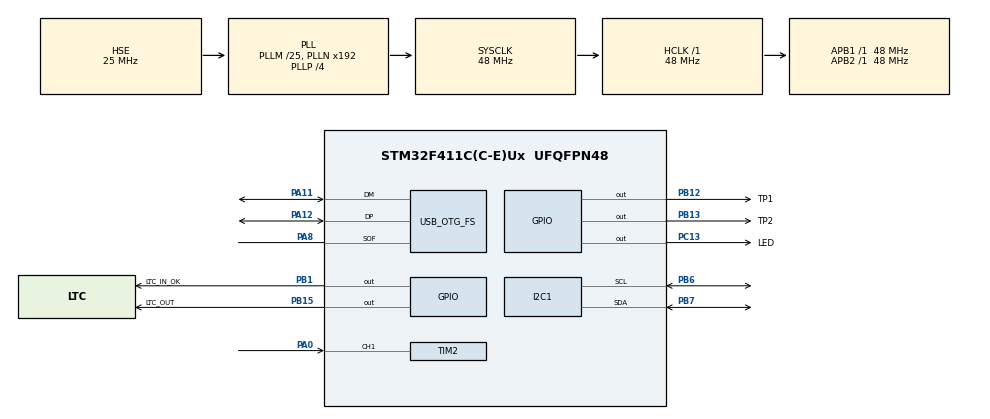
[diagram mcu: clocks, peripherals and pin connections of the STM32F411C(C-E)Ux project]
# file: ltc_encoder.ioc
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AL94.I-CUBE-USBD-COMPOSITE.1.0.3.CompositeCcUSBJjCOMPOSITEJjCDCIiACM=true
AL94.I-CUBE-USBD-COMPOSITE.1.0.3.CompositeCcUSBJjCOMPOSITEJjCOMPOSITE=true
AL94.I-CUBE-USBD-COMPOSITE.1.0.3.CompositeCcUSBJjCOMPOSITEJjCore=true
AL94.I-CUBE-USBD-COMPOSITE.1.0.3._USBD_CDC_ACM_COUNT=2
AL94.I-CUBE-USBD-COMPOSITE.1.0.3._USBD_USE_CDC_ACM=true
AL94.I-CUBE-USBD-COMPOSITE.1.0.3._USBD_USE_HS=false
Dma.I2C1_TX.0.Direction=DMA_MEMORY_TO_PERIPH
Dma.I2C1_TX.0.FIFOMode=DMA_FIFOMODE_DISABLE
Dma.I2C1_TX.0.Instance=DMA1_Stream1
Dma.I2C1_TX.0.MemDataAlignment=DMA_MDATAALIGN_BYTE
Dma.I2C1_TX.0.MemInc=DMA_MINC_ENABLE
Dma.I2C1_TX.0.Mode=DMA_NORMAL
Dma.I2C1_TX.0.PeriphDataAlignment=DMA_PDATAALIGN_BYTE
Dma.I2C1_TX.0.PeriphInc=DMA_PINC_DISABLE
Dma.I2C1_TX.0.Priority=DMA_PRIORITY_LOW
Dma.Request0=I2C1_TX
Dma.Request1=TIM1_UP
Dma.TIM1_UP.1.Direction=DMA_MEMORY_TO_PERIPH
Dma.TIM1_UP.1.FIFOMode=DMA_FIFOMODE_ENABLE
Dma.TIM1_UP.1.FIFOThreshold=DMA_FIFO_THRESHOLD_FULL
Dma.TIM1_UP.1.Instance=DMA2_Stream5
Dma.TIM1_UP.1.MemBurst=DMA_MBURST_SINGLE
Dma.TIM1_UP.1.MemDataAlignment=DMA_MDATAALIGN_WORD
Dma.TIM1_UP.1.MemInc=DMA_MINC_ENABLE
Dma.TIM1_UP.1.Mode=DMA_CIRCULAR
Dma.TIM1_UP.1.PeriphBurst=DMA_PBURST_SINGLE
Dma.TIM1_UP.1.PeriphDataAlignment=DMA_PDATAALIGN_WORD
Dma.TIM1_UP.1.PeriphInc=DMA_PINC_DISABLE
Dma.TIM1_UP.1.Priority=DMA_PRIORITY_VERY_HIGH
Mcu.Family=STM32F4
Mcu.Name=STM32F411C(C-E)Ux
Mcu.Package=UFQFPN48
NVIC.DMA1_Stream1_IRQn=true\:0\:0\:false\:false\:true\:false\:true\:true
NVIC.DMA2_Stream5_IRQn=true\:0\:0\:false\:false\:true\:false\:true\:true
NVIC.I2C1_ER_IRQn=true\:0\:0\:false\:false\:true\:true\:true\:true
NVIC.I2C1_EV_IRQn=true\:0\:0\:false\:false\:true\:true\:true\:true
NVIC.OTG_FS_IRQn=true\:0\:0\:false\:false\:true\:true\:true\:true
NVIC.PriorityGroup=NVIC_PRIORITYGROUP_4
NVIC.TIM1_BRK_TIM9_IRQn=true\:0\:0\:false\:false\:true\:true\:true\:true
NVIC.TIM1_CC_IRQn=true\:0\:0\:false\:false\:true\:true\:true\:true
NVIC.TIM1_TRG_COM_TIM11_IRQn=true\:0\:0\:false\:false\:true\:true\:true\:true
NVIC.TIM1_UP_TIM10_IRQn=true\:0\:0\:false\:false\:true\:true\:true\:true
NVIC.TIM2_IRQn=true\:0\:0\:false\:false\:true\:true\:true\:true
NVIC.TIM3_IRQn=true\:0\:0\:false\:false\:true\:true\:true\:true
PA0-WKUP.GPIO_PuPd=GPIO_NOPULL
PA0-WKUP.GPIO_Speed=GPIO_SPEED_FREQ_VERY_HIGH
PA0-WKUP.Signal=S_TIM2_CH1_ETR
PA11.Mode=Device_Only
PA11.Signal=USB_OTG_FS_DM
PA12.Mode=Device_Only
PA12.Signal=USB_OTG_FS_DP
PA13.Mode=Serial_Wire
PA13.Signal=SYS_JTMS-SWDIO
PA14.Mode=Serial_Wire
PA14.Signal=SYS_JTCK-SWCLK
PA8.Mode=Activate_SOF_FS
PA8.Signal=USB_OTG_FS_SOF
PB1.GPIO_Label=LTC_IN_OK
PB1.GPIO_ModeDefaultOutputPP=GPIO_MODE_OUTPUT_OD
PB1.GPIO_PuPd=GPIO_NOPULL
PB1.Signal=GPIO_Output
PB12.GPIO_Label=TP1
PB12.GPIO_Speed=GPIO_SPEED_FREQ_VERY_HIGH
PB12.PinState=GPIO_PIN_RESET
PB12.Signal=GPIO_Output
PB13.GPIO_Label=TP2
PB13.GPIO_Speed=GPIO_SPEED_FREQ_VERY_HIGH
PB13.Signal=GPIO_Output
PB15.GPIO_Label=LTC_OUT
PB15.GPIO_ModeDefaultOutputPP=GPIO_MODE_OUTPUT_OD
PB15.GPIO_PuPd=GPIO_NOPULL
PB15.GPIO_Speed=GPIO_SPEED_FREQ_VERY_HIGH
PB15.Signal=GPIO_Output
PB6.Mode=I2C
PB6.Signal=I2C1_SCL
PB7.Mode=I2C
PB7.Signal=I2C1_SDA
PC13-ANTI_TAMP.GPIO_Label=LED
PC13-ANTI_TAMP.GPIO_ModeDefaultOutputPP=GPIO_MODE_OUTPUT_OD
PC13-ANTI_TAMP.GPIO_PuPd=GPIO_NOPULL
PC13-ANTI_TAMP.Signal=GPIO_Output
PC14-OSC32_IN.Mode=LSE-External-Oscillator
PC14-OSC32_IN.Signal=RCC_OSC32_IN
PC15-OSC32_OUT.Mode=LSE-External-Oscillator
PC15-OSC32_OUT.Signal=RCC_OSC32_OUT
PH0\ -\ OSC_IN.Mode=HSE-External-Oscillator
PH0\ -\ OSC_IN.Signal=RCC_OSC_IN
PH1\ -\ OSC_OUT.Mode=HSE-External-Oscillator
PH1\ -\ OSC_OUT.Signal=RCC_OSC_OUT
ProjectManager.HeapSize=0x200
ProjectManager.StackSize=0x400
ProjectManager.TargetToolchain=STM32CubeIDE
RCC.48MHZClocksFreq_Value=48000000
RCC.AHBFreq_Value=48000000
RCC.APB1Freq_Value=48000000
RCC.APB1TimFreq_Value=48000000
RCC.APB2Freq_Value=48000000
RCC.APB2TimFreq_Value=48000000
RCC.CortexFreq_Value=48000000
RCC.HCLKFreq_Value=48000000
RCC.HSE_VALUE=25000000
RCC.HSI_VALUE=16000000
RCC.PLLI2SM=25
RCC.PLLI2SN=128
RCC.PLLI2SR=4
RCC.PLLM=25
RCC.PLLP=RCC_PLLP_DIV4
RCC.SYSCLKFreq_VALUE=48000000
RCC.SYSCLKSource=RCC_SYSCLKSOURCE_PLLCLK
RCC.VCOOutputFreq_Value=192000000
SH.S_TIM2_CH1_ETR.0=TIM2_CH1,PWM_Input_1
TIM1.Period=TIMER1_PERIOD
TIM1.Prescaler=TIMER1_PRESCALER
TIM3.Period=TIMER3_PERIOD
TIM3.Prescaler=TIMER3_PRESCALER
USB_OTG_FS.VirtualMode=Device_Only
VP_AL94.I-CUBE-USBD-COMPOSITE_VS_USBJjComposite_1.0.0_1.0.3.Mode=USBJjComposite
VP_TIM1_VS_ClockSourceINT.Mode=Internal
VP_TIM3_VS_ClockSourceINT.Mode=Internal
board=custom

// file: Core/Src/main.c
/* USER CODE BEGIN Header */

/* USER CODE END Header */
#include "main.h"
#include "dma.h"
#include "i2c.h"
#include "tim.h"
#include "usb_otg.h"
#include "gpio.h"

/* USER CODE BEGIN Includes */
//#include <stdatomic.h>
#include "ltc_encoder.h"
#include "ltc_decoder.h"
#include "cli.h"
#include "SSD1306.h"
#include "font-12x16.h"

#include "usb_device.h"
#include "usbd_cdc_acm_if.h"
/* USER CODE END Includes */

/* USER CODE BEGIN PV */

SSD1306_DEF(oled1, hi2c1, SSD1306_I2C_ADDR, 32, 0);

/* USER CODE END PV */

void SystemClock_Config(void);
/* USER CODE BEGIN PFP */

uint32_t tc_bcd_normalize_test = 0;

/* USER CODE END PFP */

/* USER CODE BEGIN 0 */
#define TC_DISPLAY_UNKNOWN 	0xAAAAAAAA
#define TC_DISPLAY_NONE 	0xFFFFFFFF
uint32_t tc_in_display = TC_DISPLAY_UNKNOWN, tc_in_displayed = TC_DISPLAY_NONE, tc_out_displayed = TC_DISPLAY_NONE;

#define TIMER_A_DIV(DIV) if(!(timerA_cnt % DIV))
#define TIMER_A_DIV_BLINK_FAST 50
#define TIMER_A_DIV_BLINK_SLOW 500
volatile int timerA_cnt = 0;
static void timerA_cb(TIM_HandleTypeDef *htim)
{
	unsigned int now = HAL_GetTick();

	timerA_cnt++;

	/* blink fast it timecode detected */
	/* check if we should solid led if no timecode detected */
	if((ltc_last + 1000) < now)
	{
		// HAL_GPIO_WritePin(LED_GPIO_Port, LED_Pin, GPIO_PIN_RESET);
		tc_in_display = TC_DISPLAY_UNKNOWN;

		TIMER_A_DIV(TIMER_A_DIV_BLINK_SLOW)
			HAL_GPIO_TogglePin(LED_GPIO_Port, LED_Pin);

		HAL_GPIO_WritePin(LTC_IN_OK_GPIO_Port, LTC_IN_OK_Pin, GPIO_PIN_SET);
	}
	else
	{
		/* blink fast it timecode detected */
		TIMER_A_DIV(TIMER_A_DIV_BLINK_FAST)
			HAL_GPIO_TogglePin(LED_GPIO_Port, LED_Pin);

		HAL_GPIO_WritePin(LTC_IN_OK_GPIO_Port, LTC_IN_OK_Pin, GPIO_PIN_RESET);
	};

	SSD1306_refresh(&oled1);
};

extern USBD_HandleTypeDef hUsbDevice;

static volatile int cdc_ready[2] = {0};
static void ltc_decoder_callback(uint32_t tc_bcd, uint8_t *tc_str_data, uint32_t tc_str_len)
{
	tc_in_display = tc_bcd;
	if(cdc_ready[1])
		CDC_Transmit(1, tc_str_data, tc_str_len);
}

static uint32_t console_font_12x16_transposed[2 /* rows 8 pixels height */][16 /* glyphs */][3 /* 32-bits words width */];

static void console_font_12x16_transpose()
{
	int g;

	uint16_t G[16];

	for(g = 0; g < 14; g++)
	{
		int i, row, col;
		const uint8_t *g_src;

		/* copy to src */
		g_src = console_font_12x16 + g * 2 * 16;
		for(i = 0; i < 16; i++)
		{
			uint16_t l = g_src[2 * i + 0];
			uint16_t r = g_src[2 * i + 1];
			G[i] = l << 8 | r;
		}

		/* transpose */
		for(row = 0; row < 2; row++)
		{
			uint16_t m_src = 0x8000;
			uint8_t *g_dst = (uint8_t *)console_font_12x16_transposed[row][g];

			/* semicolon shift */
			if(g == 11) m_src >>= 1;
			/* arrow to right (for right corner) shift */
			if(g == 12) m_src >>= 1;
			/* arrow to right (for left corner) shift */
			if(g == 13) m_src >>= 3;

			for(col = 0; col < 12; col++, m_src >>= 1, g_dst++)
			{
				int h;
				uint8_t m_dst = 1, c = 0;

				for(h = 0; h < 8; h++, m_dst <<= 1)
					c |= G[row * 8 + h] & m_src ? m_dst : 0;

				*g_dst = c;
			}
		}
	}

};

static void oled_redraw(uint32_t bcd, int top_offset)
{
	int j, s;

	uint32_t
		*top = (uint32_t*)&oled1.fb[0 + top_offset][SSD1306_DATA_OFFSET],
		*bottom = (uint32_t*)&oled1.fb[1 + top_offset][SSD1306_DATA_OFFSET];

	for(j = 0, s = 28; j < 8; j++, s -= 4)
	{
		uint32_t g;

		/* out char */
		g = 13;
		if(j == 0 && top_offset)
		{
			*top =  console_font_12x16_transposed[0][g][0]; top++;
			*top =  console_font_12x16_transposed[0][g][1]; top++;
			*bottom =  console_font_12x16_transposed[1][g][0]; bottom++;
			*bottom =  console_font_12x16_transposed[1][g][1]; bottom++;
		}

		// find glyph index
		g = bcd >> s;
		g &= 0x0F;
		if(g > 10) g = 10;

		// copy glyph bitmap data
		*top =  console_font_12x16_transposed[0][g][0]; top++;
		*top =  console_font_12x16_transposed[0][g][1]; top++;
		*top =  console_font_12x16_transposed[0][g][2]; top++;
		*bottom =  console_font_12x16_transposed[1][g][0]; bottom++;
		*bottom =  console_font_12x16_transposed[1][g][1]; bottom++;
		*bottom =  console_font_12x16_transposed[1][g][2]; bottom++;

		/* semicolon */
		g = 11;
		if(j == 1 || j == 3 || j == 5)
		{
			*top =  console_font_12x16_transposed[0][g][0]; top++;
			*top =  console_font_12x16_transposed[0][g][1]; top++;
			*bottom =  console_font_12x16_transposed[1][g][0]; bottom++;
			*bottom =  console_font_12x16_transposed[1][g][1]; bottom++;
		}

		/* out char */
		g = 12;
		if(j == 7 && !top_offset)
		{
			*top =  console_font_12x16_transposed[0][g][0]; top++;
			*top =  console_font_12x16_transposed[0][g][1]; top++;
			*bottom =  console_font_12x16_transposed[1][g][0]; bottom++;
			*bottom =  console_font_12x16_transposed[1][g][1]; bottom++;
		}
	}
}

static void oled_idle()
{
	uint32_t mask;

	mask = 3;
	if(ltc_bcd_curr != tc_out_displayed && !(oled1.dirty & mask) && !(oled1.busy & mask))
	{
		oled_redraw(tc_out_displayed = ltc_bcd_curr, 0);

		// mark pages dirty
		oled1.dirty |= mask;

		return;
	}

	mask = 12;
	if(tc_in_display != tc_in_displayed && !(oled1.dirty & mask) && !(oled1.busy & mask))
	{
		oled_redraw(tc_in_displayed = tc_in_display, 2);

		// mark pages dirty
		oled1.dirty |= mask;

		return;
	}
}

extern USBD_HandleTypeDef hUsbDevice;
extern USBD_CDC_ACM_ItfTypeDef USBD_CDC_ACM_fops;
static USBD_CDC_ACM_ItfTypeDef _USBD_CDC_ACM_fops;
static int8_t _CDC_Init(uint8_t cdc_ch)
{
	int8_t r;

	r = _USBD_CDC_ACM_fops.Init(cdc_ch);

	cdc_ready[cdc_ch]++;

	return r;
}

static int8_t _CDC_Control(uint8_t cdc_ch, uint8_t cmd, uint8_t *pbuf, uint16_t length)
{
	int8_t r;

	r = _USBD_CDC_ACM_fops.Control(cdc_ch, cmd, pbuf, length);

	return r;
}

static int8_t _CDC_Receive(uint8_t cdc_ch, uint8_t *Buf, uint32_t *Len)
{
	if(!cdc_ch)
		cli_callback_recv_data(Buf, *Len);
	USBD_CDC_SetRxBuffer(cdc_ch, &hUsbDevice, &Buf[0]);
	USBD_CDC_ReceivePacket(cdc_ch, &hUsbDevice);
	return (USBD_OK);
}

static int8_t _CDC_TransmitCplt(uint8_t cdc_ch, uint8_t *Buf, uint32_t *Len, uint8_t epnum)
{
	if(!cdc_ch)
		cli_callback_sent_data(Buf, *Len);
	return (USBD_OK);
}

/* USER CODE END 0 */

int main(void)
{

  /* MCU Configuration--------------------------------------------------------*/

  /* Reset of all peripherals, Initializes the Flash interface and the Systick. */
  HAL_Init();

  /* USER CODE BEGIN Init */
  _USBD_CDC_ACM_fops = USBD_CDC_ACM_fops;
  USBD_CDC_ACM_fops.Init = _CDC_Init;
  USBD_CDC_ACM_fops.Control = _CDC_Control;
  USBD_CDC_ACM_fops.TransmitCplt = _CDC_TransmitCplt;
  USBD_CDC_ACM_fops.Receive = _CDC_Receive;
  /* USER CODE END Init */

  /* Configure the system clock */
  SystemClock_Config();

  /* Initialize all configured peripherals */
  MX_GPIO_Init();
  MX_DMA_Init();
  MX_TIM1_Init();
  MX_I2C1_Init();
  MX_TIM2_Init();
  MX_TIM3_Init();
  MX_USB_OTG_FS_PCD_Init();
  /* USER CODE BEGIN 2 */

  MX_USB_DEVICE_Init();

  // start generic timer
  HAL_TIM_RegisterCallback(&htim3, HAL_TIM_PERIOD_ELAPSED_CB_ID, timerA_cb);
  HAL_TIM_Base_Start_IT(&htim3);

  // ltc out init and run
  ltc_encoder_init(&htim1, LTC_OUT_GPIO_Port, LTC_OUT_Pin);

  // ltc in init and run
  ltc_decoder_init(&htim2);

  // setup and init oled display
  console_font_12x16_transpose();
  SSD1306_setup(&oled1);

  /* USER CODE END 2 */

  /* Infinite loop */
  /* USER CODE BEGIN WHILE */
  while (1)
  {
	ltc_encoder_idle();
	ltc_decoder_idle(ltc_decoder_callback);
    cli_idle();
    oled_idle();
    /* USER CODE END WHILE */

  }
}

void SystemClock_Config(void)
{
  RCC_OscInitTypeDef RCC_OscInitStruct = {0};
  RCC_ClkInitTypeDef RCC_ClkInitStruct = {0};

  /** Configure the main internal regulator output voltage
  */
  __HAL_RCC_PWR_CLK_ENABLE();
  __HAL_PWR_VOLTAGESCALING_CONFIG(PWR_REGULATOR_VOLTAGE_SCALE1);

  /** Initializes the RCC Oscillators according to the specified parameters
  * in the RCC_OscInitTypeDef structure.
  */
  RCC_OscInitStruct.OscillatorType = RCC_OSCILLATORTYPE_HSE;
  RCC_OscInitStruct.HSEState = RCC_HSE_ON;
  RCC_OscInitStruct.PLL.PLLState = RCC_PLL_ON;
  RCC_OscInitStruct.PLL.PLLSource = RCC_PLLSOURCE_HSE;
  RCC_OscInitStruct.PLL.PLLM = 25;
  RCC_OscInitStruct.PLL.PLLN = 192;
  RCC_OscInitStruct.PLL.PLLP = RCC_PLLP_DIV4;
  RCC_OscInitStruct.PLL.PLLQ = 4;
  if (HAL_RCC_OscConfig(&RCC_OscInitStruct) != HAL_OK)
  {
    Error_Handler();
  }

  /** Initializes the CPU, AHB and APB buses clocks
  */
  RCC_ClkInitStruct.ClockType = RCC_CLOCKTYPE_HCLK|RCC_CLOCKTYPE_SYSCLK
                              |RCC_CLOCKTYPE_PCLK1|RCC_CLOCKTYPE_PCLK2;
  RCC_ClkInitStruct.SYSCLKSource = RCC_SYSCLKSOURCE_PLLCLK;
  RCC_ClkInitStruct.AHBCLKDivider = RCC_SYSCLK_DIV1;
  RCC_ClkInitStruct.APB1CLKDivider = RCC_HCLK_DIV1;
  RCC_ClkInitStruct.APB2CLKDivider = RCC_HCLK_DIV1;

  if (HAL_RCC_ClockConfig(&RCC_ClkInitStruct, FLASH_LATENCY_1) != HAL_OK)
  {
    Error_Handler();
  }
}

void Error_Handler(void)
{
  __disable_irq();
  while (1)
  {
  }
}
